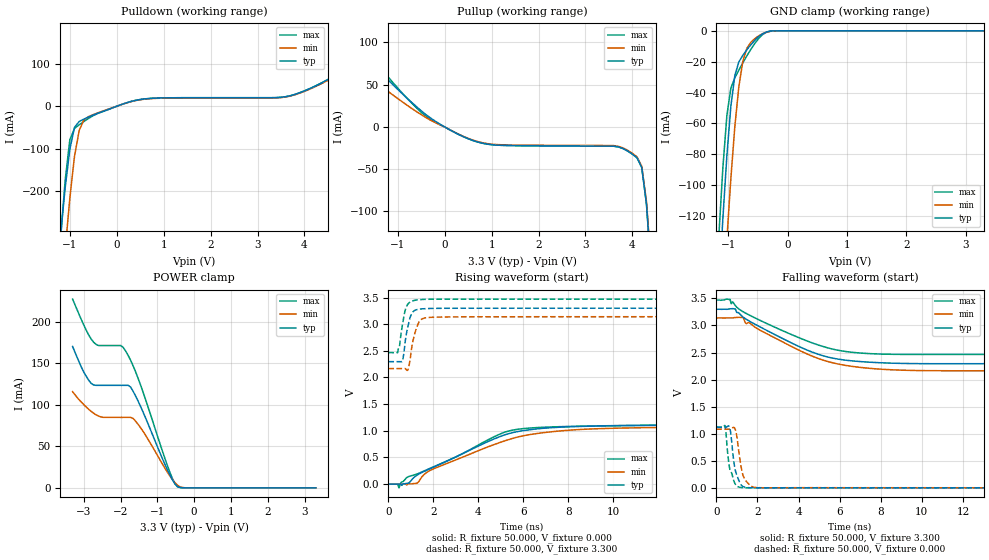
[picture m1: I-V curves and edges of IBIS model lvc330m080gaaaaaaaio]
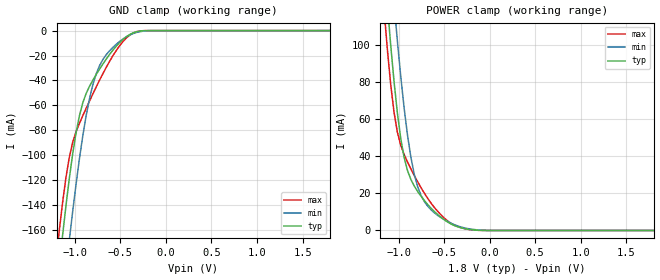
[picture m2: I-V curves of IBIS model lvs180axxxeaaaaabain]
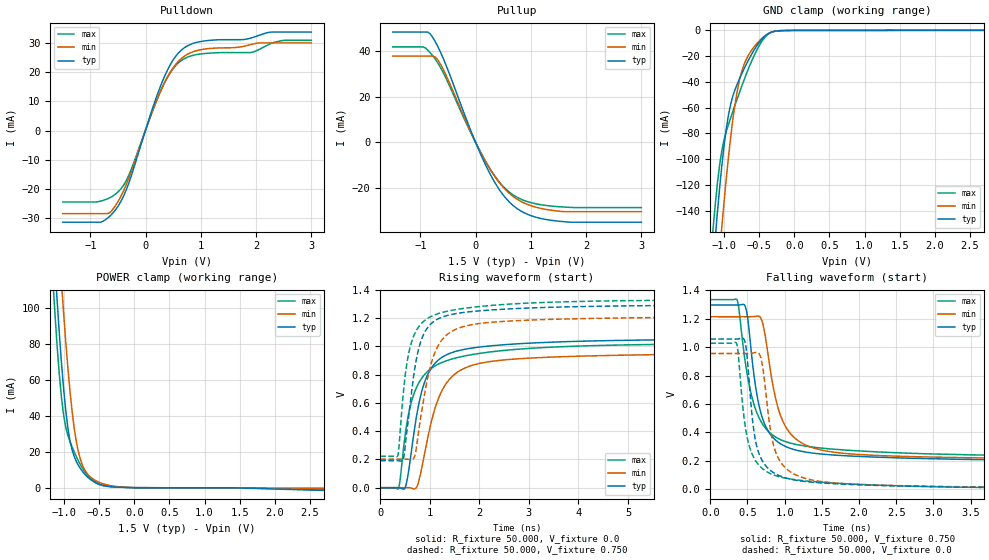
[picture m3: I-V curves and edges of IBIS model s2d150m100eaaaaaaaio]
| IBIS Models Generator: Lattice Radiant Software (64-bit) 2023.1.1.200.1
| Report Generate Date: Oct  8 2023
| Report Generate Time: 02:59:03
| IBIS File LibisMaker.ibs
| Cadence Design Systems, Inc. 2022
[IBIS ver]   4.2
[File Name]   Lattice_Project_1_impl_1.ibs
[File Rev]   1.8
[Date]   Wed Dec 14 00:00:05 PST 2022
[Source]   Lattice Semiconductor 28fdsoi Process
   Device: LIFCL-40   Final
   Lattice Semiconductor has worked hard to ensure the
   models below are accurate and complete.  However, the
   data below was generated using simulation of the
   input/output model files for the silicon.  Therefore,
   the data below is for reference and initial design
   purposes only.
   Lattice Semiconductor grants permission to use this
   data for use in printed circuit design using this
   Lattice programmable logic device.  Other use of this
   code, including the selling or duplication of any
   portion is strictly prohibited.
|   NAMING CONVENTION
   The IBIS [Model] header is limited by the specification to a
   total of characters.  With such a set of characters available
   for naming models it becomes important to attempt to
   meaningfully encode the IO standards so they fit within the
   twenty character limit.  It would seem that twenty characters
   would provide room enough for describing IO's.  However, the
   PLD IO structure continues to grow more and more complex.  The
   complexity is making the twenty characters insuffiently
   descriptive.  In order to overcome this issue the naming
   convention described below is implemented to resolve the issue.
The twenty character space is managed as follows:
   bbbvvvsdddprttmaoixx
   b = standard
   v = voltage (x.xx V)
   s = slew code
   d = drive (xx.x ma)
   p = pullmode code
   r = impedance
   t = termination code
   m = mipi hard dphy mode
   o = diff resistor code
   i = diff  current code
   x = reserved
   standard
   LVCMOS   lvc
   LVCMOSH   lvh
   LVCMOSR   lvr
   LVCMOSD   lvd
   LVTTL   lvt
   lvttld   ltd
   sstl_I   ss1
   sstl_II   ss2
   sstld_I   s1d
   sstld_II   s2d
   hsul   hs1
   hsuld   h1d
   hstl_I   hs1
   hstld_I   h1d
   lvds   lvs
   lvdse   lve
   SUBLVDS   slv
   sublvdse   sle
   sublvdseh   slh
   slvs   svs
   mipi   mip
   vref1   vr1
   slew
   na   a
   fast   f
   slow   s
   med   m
   drive
   2   020
   4   040
   6   060
   8   080
   10   100
   12   120
   16   160
   50rs   r50
   na   xxx
   pullmode/clamp on
   none   a/e
   failsafe   a/e
   up   b/f
   down   c/g
   keeper   d/h
   i3c   i
   impedance
   off   a
   termination
   off   aa
   40   bb
   50   cc
   60   dd
   75   ee
   150   ff
   mipi hard dphy mode
   off   a
   lp   l
   hs   h
   differential resistor
   off   a
   100   b
   differential current
   NA   a
   2.0   b
   3.5   c
   Reserved   IO type
   in   input only (mipi: rx)
   ou   output (mipi: tx)
   io   I/O
   od   Open drain
   on   Inverting differential I/O
   op   Non-Inverting differential I/O
   All the IO models are generated with pull mode set to none.
   Lattice Semiconductor Corporation
   5555 NE Moore Court
   Hillsboro, OR 97214
   U.S.A
   TEL: 1-800-Lattice (USA and Canada)
   408-826-6000 (other locations)
   web: http://www.latticesemi.com/
   email: techsupport@latticesemi.com
[Disclaimer] This IBIS source code is intended as a design reference
   which illustrates how the Lattice Semiconductor device operates.
   It is the user's responsibility to verify their design for
   consistency and functionality through the use of formal
   verification methods.  Lattice Semiconductor provides no warranty
   regarding the use or functionality of this data.
[Copyright]   Copyright 2022 by Lattice Semiconductor Corporation
|   Component LIFCL
[Component] LIFCL
[Manufacturer] Lattice Semiconductor Corp.
[Package]
|CABGA256
| variable   typ   min   max
R_pkg   0.3426   0.17381   0.48772
L_pkg   3.589e-9   1.79e-9   5.151e-9
C_pkg   1.23e-12   7.609e-13   1.567e-12
[Pin]  signal_name   model_name   R_pin   L_pin   C_pin
R5   dqs1_io+   s2d150m100eaaaaaaaio
P5   dqs1_io-   s2d150m100eaaaaaaaio
R7   dq_dqs1_io[6]   ss2150m100eaaaaaaaio
T5   dq_dqs1_io[2]   ss2150m100eaaaaaaaio
R1   dq_dqs1_io[3]   ss2150m100eaaaaaaaio
R3   dq_dqs1_io[4]   ss2150m100eaaaaaaaio
T3   dq_dqs1_io[1]   ss2150m100eaaaaaaaio
T6   dq_dqs1_io[0]   ss2150m100eaaaaaaaio
R2   dq_dqs1_io[5]   ss2150m100eaaaaaaaio
T2   dq_dqs1_io[7]   ss2150m100eaaaaaaaio
M9   dqs0_io+   s2d150m100eaaaaaaaio
M8   dqs0_io-   s2d150m100eaaaaaaaio
M10   dq_dqs0_io[6]   ss2150m100eaaaaaaaio
T10   dq_dqs0_io[2]   ss2150m100eaaaaaaaio
P7   dq_dqs0_io[3]   ss2150m100eaaaaaaaio
N9   dq_dqs0_io[4]   ss2150m100eaaaaaaaio
P6   dq_dqs0_io[1]   ss2150m100eaaaaaaaio
T9   dq_dqs0_io[0]   ss2150m100eaaaaaaaio
R9   dq_dqs0_io[5]   ss2150m100eaaaaaaaio
P9   dq_dqs0_io[7]   ss2150m100eaaaaaaaio
G13   I2C_DPHY_1_scl_io   lvc330m080gaaaaaaaio
G14   I2C_DPHY_1_sda_io   lvc330m080gaaaaaaaio
G16   I2C_DPHY_2_scl_io   lvc330m080gaaaaaaaio
F16   I2C_DPHY_2_sda_io   lvc330m080gaaaaaaaio
N4   PLL_1_clki_i+   lvs180axxxeaaaaabain
M4   PLL_1_clki_i-   lvs180axxxeaaaaabain
M11   DDR_MEM_1_cke_o[0]   ss2150m100eaaaaaaaou
N13   DDR_MEM_1_odt_o[0]   ss2150m100eaaaaaaaou
L12   DDR_MEM_1_wen_o   ss2150m100eaaaaaaaou
N11   DDR_MEM_1_rasn_o   ss2150m100eaaaaaaaou
N12   DDR_MEM_1_casn_o   ss2150m100eaaaaaaaou
R13   DDR_MEM_1_ba_o[2]   ss2150m100eaaaaaaaou
M14   DDR_MEM_1_ba_o[1]   ss2150m100eaaaaaaaou
T13   DDR_MEM_1_ba_o[0]   ss2150m100eaaaaaaaou
R16   DDR_MEM_1_addr_o[13] ss2150m100eaaaaaaaou
N14   DDR_MEM_1_addr_o[12] ss2150m100eaaaaaaaou
T15   DDR_MEM_1_addr_o[11] ss2150m100eaaaaaaaou
M13   DDR_MEM_1_addr_o[10] ss2150m100eaaaaaaaou
M16   DDR_MEM_1_addr_o[9]  ss2150m100eaaaaaaaou
P16   DDR_MEM_1_addr_o[8]  ss2150m100eaaaaaaaou
N16   DDR_MEM_1_addr_o[7]  ss2150m100eaaaaaaaou
R15   DDR_MEM_1_addr_o[6]  ss2150m100eaaaaaaaou
P15   DDR_MEM_1_addr_o[5]  ss2150m100eaaaaaaaou
T14   DDR_MEM_1_addr_o[4]  ss2150m100eaaaaaaaou
R14   DDR_MEM_1_addr_o[3]  ss2150m100eaaaaaaaou
N15   DDR_MEM_1_addr_o[2]  ss2150m100eaaaaaaaou
M15   DDR_MEM_1_addr_o[1]  ss2150m100eaaaaaaaou
P14   DDR_MEM_1_addr_o[0]  ss2150m100eaaaaaaaou
P11   DDR_MEM_1_csn_o[0]   ss2150m100eaaaaaaaou
T12   DDR_MEM_1_ck_o[0]+   s2d150m100eaaaaaaaou
T11   DDR_MEM_1_ck_o[0]-   s2d150m100eaaaaaaaou
T4   dm_dqs1_o   ss2150m100eaaaaaaaou
R8   dm_dqs0_o   ss2150m100eaaaaaaaou
[Diff pin]  inv_pin  vdiff  tdelay_typ  tdelay_min  tdelay_max
T12   T11   0.1   0.0s   0.0s   0.0s
| Models and submodels in the file (6): lvc330m080gaaaaaaaio (I/O), lvs180axxxeaaaaabain (Input), s2d150m100eaaaaaaaio (I/O), s2d150m100eaaaaaaaou (Output), ss2150m100eaaaaaaaio (I/O), ss2150m100eaaaaaaaou (Output)
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[Model] lvc330m080gaaaaaaaio
Model_type I/O
Polarity   Non-Inverting
Enable   Active-Low
Vinl =  0.800V
Vinh =  2.000V
Vmeas =  1.650V
Cref =  0.0F
Rref =  1.000M
Vref =  0.0V
C_comp   5.000pF   4.000pF   5.500pF
[Temperature Range]   25.000   0.125k   -40.000
[Voltage Range]   3.300V   3.140V   3.470V
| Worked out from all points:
|   slope of the pulldown table from 0 to 0.495 V, typ, clamps not added: 31.5 ohm
|   slope of the pullup table from 0 to 0.495 V, typ, clamps not added: 35.9 ohm
|   GND clamp passes 1 mA (typ) near -0.37 V on its own axis
|   POWER clamp passes 1 mA (typ) near -0.42 V on its own axis
|   rising waveform, R_fixture 50.000, V_fixture 0.000: 20-80 % time 3.47ns typ, 3.91ns min, 3.27ns max; typ from 0 V to 1.12 V
|   rising waveform, R_fixture 50.000, V_fixture 3.300: 20-80 % time 248ps typ, 295ps min, 236ps max; typ from 2.3 V to 3.3 V
|   falling waveform, R_fixture 50.000, V_fixture 3.300: 20-80 % time 3.22ns typ, 3.2ns min, 3.51ns max; typ from 3.3 V to 2.3 V
|   falling waveform, R_fixture 50.000, V_fixture 0.000: 20-80 % time 273ps typ, 284ps min, 288ps max; typ from 1.12 V to 0 V
[GND_clamp]
|Voltage   I(typ)   I(min)   I(max)
-3.3V     -1.887A    -1.873A    -1.902A
-1.156V   -166.9mA   -224mA     -132.1mA
-1.089V   -121.5mA   -178.4mA   -88.64mA
-1.022V   -81.05mA   -135.2mA   -54.94mA
-955mV    -48.98mA   -95.79mA   -37.15mA
-888mV    -28.98mA   -62.05mA   -30.42mA
-821mV    -20.23mA   -36.35mA   -25.49mA
-754mV    -15.89mA   -19.89mA   -20.81mA
-687mV    -12.34mA   -11.44mA   -16.31mA
-620mV    -9.094mA   -7.515mA   -12.09mA
-419mV    -1.869mA   -1.836mA   -2.383mA
3.3V      0A         0A         0A
[POWER_clamp]
|Voltage   I(typ)   I(min)   I(max)
-3.3V     170.3mA    115.9mA    227.4mA
-2.998V   139.6mA    100.3mA    196.3mA
-2.797V   125.9mA    92.2mA     179.4mA
-2.596V   123.5mA    86.45mA    171.5mA
-1.993V   123.5mA    84.93mA    171.5mA
-1.792V   123.5mA    84.93mA    159.6mA
-1.658V   116.4mA    83.68mA    147.1mA
-1.457V   98.28mA    72.65mA    124.1mA
-720mV    21.08mA    18.41mA    25.96mA
-452mV    1.573mA    3.148mA    1.229mA
-184mV    5.589uA    37.85uA    1.612uA
3.3V      0A         0A         0A
[Pulldown]
|Voltage   I(typ)   I(min)   I(max)
-3.3V     -3.025A    -3.614A    -3.918A
-1.2V     -304.3mA   -472.8mA   -317.2mA
-1.1V     -192.9mA   -339.3mA   -175.3mA
-1V       -101.2mA   -217mA     -78.95mA
-900mV    -49.86mA   -117.7mA   -52.21mA
-800mV    -35.81mA   -56.74mA   -43.74mA
-500mV    -20.71mA   -19.77mA   -22.12mA
600mV     17.27mA    16.75mA    17.27mA
3.7V      24.69mA    23.95mA    24.69mA
5.3V      109.4mA    106.1mA    109.4mA
6.1V      131.6mA    127.7mA    131.6mA
6.6V      184.5mA    179mA      184.5mA
[Pullup]
|Voltage   I(typ)   I(min)   I(max)
-3.3V     145.5mA    90.7mA     185.8mA
-3V       114.9mA    81.5mA     156.2mA
-2.7V     96.8mA     74.7mA     125.4mA
-2.4V     95.1mA     71.05mA    105.4mA
-1.9V     90.5mA     66.84mA    102.4mA
-500mV    19.13mA    14.57mA    17.21mA
600mV     -16.01mA   -15.53mA   -16.01mA
3.8V      -25.54mA   -24.77mA   -25.54mA
4.2V      -47.87mA   -46.43mA   -47.87mA
4.3V      -90.8mA    -88.1mA    -90.8mA
4.4V      -169.3mA   -164.2mA   -169.3mA
6.6V      -2.624A    -2.545A    -2.624A
[Ramp]
| variable   typ   min   max
dV/dt_r   0.789/3.474n   0.590/3.936n   0.521/3.276n
dV/dt_f   0.706/3.253n   0.547/3.212n   0.513/3.516n
R_load = 50.000
[Rising Waveform]
R_fixture = 50.000
V_fixture = 0.000
V_fixture_min = 0.000
V_fixture_max = 0.000
|  time   V(typ)   V(min)   V(max)
0s        488.9uV    1.45mV     490.1uV
395ps     637.6uV    958.7uV    3.902mV
475ps     718.1uV    1.458mV    -70.63mV
816ps     13.72mV    -15.69mV   120.4mV
1.256ns   162.7mV    14.22mV    187.3mV
2.016ns   319.3mV    288.2mV    325.9mV
4.885ns   878.7mV    769.5mV    924.9mV
5.78ns    987.4mV    886.1mV    1.03V
9.109ns   1.088V     1.036V     1.091V
20ns      1.119V     1.084V     1.122V
[Rising Waveform]
R_fixture = 50.000
V_fixture = 3.300
V_fixture_min = 3.140
V_fixture_max = 3.470
|  time   V(typ)   V(min)   V(max)
0s        2.297V     2.167V     2.467V
409ps     2.297V     2.166V     2.466V
616ps     2.299V     2.168V     2.961V
734ps     2.622V     2.168V     3.237V
866ps     2.953V     2.141V     3.375V
1.036ns   3.197V     2.555V     3.43V
1.276ns   3.274V     2.953V     3.455V
1.486ns   3.287V     3.096V     3.463V
2.077ns   3.297V     3.131V     3.469V
20ns      3.3V       3.14V      3.47V
[Falling Waveform]
R_fixture = 50.000
V_fixture = 3.300
V_fixture_min = 3.140
V_fixture_max = 3.470
|  time   V(typ)   V(min)   V(max)
0s        3.3V       3.14V      3.47V
666ps     3.307V     3.141V     3.481V
726ps     3.309V     3.14V      3.403V
924ps     3.306V     3.147V     3.369V
1.275ns   3.165V     3.146V     3.261V
1.436ns   3.12V      3.04V      3.227V
4.236ns   2.575V     2.505V     2.741V
6.39ns    2.354V     2.256V     2.514V
9.897ns   2.295V     2.167V     2.465V
20ns      2.297V     2.167V     2.467V
[Falling Waveform]
R_fixture = 50.000
V_fixture = 0.000
V_fixture_min = 0.000
V_fixture_max = 0.000
|  time   V(typ)   V(min)   V(max)
0s        1.119V     1.084V     1.122V
432ps     1.119V     1.083V     1.146V
635ps     1.128V     1.083V     395.6mV
704ps     1.006V     1.09V      298.1mV
846ps     510.1mV    1.117V     138.5mV
936ps     308.8mV    1.065V     61.56mV
1.193ns   62.15mV    421.9mV    5.672mV
1.432ns   8.25mV     133.1mV    218.6uV
1.966ns   398.9uV    4.688mV    -525.9uV
20ns      488.9uV    1.45mV     490.1uV
[Model] lvs180axxxeaaaaabain
Model_type Input
Polarity   Non-Inverting
Enable   Active-High
Vinl =  1.150V
Vinh =  1.350V
C_comp   5.000pF   4.000pF   5.500pF
[Temperature Range]   25.000   0.125k   -40.000
[Voltage Range]   1.800V   1.710V   1.890V
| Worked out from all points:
|   GND clamp passes 1 mA (typ) near -0.32 V on its own axis
|   POWER clamp passes 1 mA (typ) near -0.27 V on its own axis
[GND_clamp]
|Voltage   I(typ)   I(min)   I(max)
-1.8V     -677.4mA   -713mA     -658.2mA
-1.171V   -189.8mA   -242.9mA   -161.2mA
-1.134V   -164.7mA   -217.4mA   -138.3mA
-1.06V    -118.8mA   -168.4mA   -101.8mA
-1.023V   -99.03mA   -145.3mA   -89.73mA
-949mV    -68.36mA   -103mA     -74.49mA
-838mV    -44.68mA   -54.52mA   -56.51mA
-764mV    -35.18mA   -34.57mA   -45.15mA
-616mV    -18.97mA   -16.05mA   -24.45mA
-394mV    -3.022mA   -3.467mA   -3.479mA
-246mV    -133.7uA   -439.9uA   -72.52uA
1.8V      0A         0A         0A
[POWER_clamp]
|Voltage   I(typ)   I(min)   I(max)
-1.8V     630.6mA    657.5mA    617.1mA
-1.16V    145.6mA    191.8mA    119.8mA
-1.123V   121.9mA    167.8mA    97.77mA
-1.086V   99.96mA    144.6mA    78.71mA
-1.049V   80.13mA    122.5mA    63.55mA
-1.012V   63.07mA    101.7mA    52.79mA
-938mV    39.18mA    65.73mA    40.83mA
-864mV    27.4mA     39.31mA    33.08mA
-790mV    20.99mA    23.56mA    26.19mA
-679mV    13.9mA     13.03mA    17.21mA
-457mV    4.419mA    4.712mA    4.931mA
1.8V      0A         0A         0A
[Model] s2d150m100eaaaaaaaio
Model_type I/O
Polarity   Non-Inverting
Enable   Active-Low
Vinl =  0.650V
Vinh =  0.850V
Vmeas =  0.750V
Cref =  30.000pF
Rref =  50.000
Vref =  0.750V
C_comp   5.000pF   4.000pF   5.500pF
[Temperature Range]   25.000   0.125k   -40.000
[Voltage Range]   1.500V   1.430V   1.580V
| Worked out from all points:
|   slope of the pulldown table from 0 to 0.225 V, typ, clamps not added: 17.6 ohm
|   slope of the pullup table from 0 to 0.225 V, typ, clamps not added: 18.7 ohm
|   GND clamp passes 1 mA (typ) near -0.31 V on its own axis
|   POWER clamp passes 1 mA (typ) near -0.43 V on its own axis
|   rising waveform, R_fixture 50.000, V_fixture 0.0: 20-80 % time 419ps typ, 522ps min, 505ps max; typ from 0 V to 1.06 V
|   rising waveform, R_fixture 50.000, V_fixture 0.750: 20-80 % time 321ps typ, 403ps min, 317ps max; typ from 0.191 V to 1.3 V
|   falling waveform, R_fixture 50.000, V_fixture 0.750: 20-80 % time 245ps typ, 299ps min, 301ps max; typ from 1.3 V to 0.192 V
|   falling waveform, R_fixture 50.000, V_fixture 0.0: 20-80 % time 178ps typ, 217ps min, 206ps max; typ from 1.06 V to 0.001 V
[Pulldown]
|Voltage   I(typ)   I(min)   I(max)
-1.5V     -31.49mA   -28.52mA   -24.55mA
-810mV    -31.49mA   -28.52mA   -24.23mA
-672mV    -29.84mA   -28.5mA    -23.32mA
-534mV    -26.99mA   -25.49mA   -21.69mA
-304mV    -18.09mA   -16.39mA   -15.39mA
294mV     16.38mA    14.5mA     14.44mA
478mV     23.61mA    20.97mA    20.71mA
662mV     27.85mA    24.96mA    24.22mA
1.122V    30.89mA    28.09mA    26.52mA
1.904V    31.74mA    29.49mA    26.77mA
2.456V    33.8mA     30.08mA    30.83mA
3V        33.8mA     30.08mA    30.98mA
[Pullup]
|Voltage   I(typ)   I(min)   I(max)
-1.5V     48.28mA    37.75mA    41.78mA
-956mV    48.28mA    37.75mA    41.78mA
-864mV    48.28mA    37.75mA    40.27mA
-772mV    45.82mA    37.75mA    37.86mA
-588mV    36.9mA     32.06mA    30.64mA
-82mV     4.881mA    4.232mA    4.033mA
194mV     -10.55mA   -9.008mA   -8.855mA
470mV     -22.09mA   -18.82mA   -18.52mA
700mV     -28.07mA   -24.05mA   -23.33mA
1.022V    -32.27mA   -27.9mA    -26.54mA
1.436V    -34.35mA   -29.95mA   -28.06mA
3V        -34.97mA   -30.36mA   -28.57mA
[GND_clamp]
|Voltage   I(typ)   I(min)   I(max)
-1.5V     -437.6mA   -483.1mA   -411.3mA
-1.159V   -181.2mA   -234mA     -153.2mA
-1.128V   -160.4mA   -212.8mA   -134.5mA
-1.097V   -140.5mA   -192mA     -117.9mA
-1.035V   -104.9mA   -152.2mA   -93.08mA
-942mV    -66.01mA   -98.88mA   -73.31mA
-849mV    -46.26mA   -57.94mA   -58.29mA
-787mV    -38.01mA   -39.4mA    -48.69mA
-663mV    -23.84mA   -19.92mA   -30.76mA
-508mV    -9.791mA   -8.549mA   -12.41mA
-384mV    -2.92mA    -2.99mA    -3.392mA
3V        0A         0A         0A
[POWER_clamp]
|Voltage   I(typ)   I(min)   I(max)
-1.5V     391.5mA    430.3mA    369.8mA
-1.166V   144.9mA    193mA      117.4mA
-1.135V   124.5mA    172.6mA    97.69mA
-1.104V   105.1mA    152.8mA    79.63mA
-1.042V   70.22mA    115.2mA    50.64mA
-1.011V   55.5mA     97.74mA    40.7mA
-949mV    33.19mA    66.57mA    29.05mA
-887mV    20.7mA     41.83mA    22.48mA
-825mV    14.31mA    24.76mA    16.96mA
-732mV    8.589mA    11.69mA    10.31mA
-577mV    3.202mA    4.456mA    3.639mA
3V        -1.88mA    -305.7uA   -1.33mA
[Ramp]
| variable   typ   min   max
dV/dt_r   0.634/0.421n   0.573/0.525n   0.617/0.507n
dV/dt_f   0.647/0.393n   0.591/0.466n   0.642/0.571n
R_load = 50.000
[Rising Waveform]
R_fixture= 50.000
V_fixture= 0.0
V_fixture_min= 0.0
V_fixture_max= 0.0
|time   V(typ)   V(min)   V(max)
0s        11.5uV     367.1uV    1.902uV
364ps     802.7uV    412.3uV    -6.152mV
498ps     -2.509mV   611.5uV    362.4mV
598ps     180.4mV    -171.6uV   565.3mV
730ps     502mV      1.823mV    708.5mV
869ps     719.8mV    194.7mV    790.3mV
1.099ns   878.2mV    554.7mV    860.7mV
1.32ns    937.6mV    732.1mV    896.5mV
2.171ns   1.002V     890.3mV    958.5mV
30ns      1.057V     955mV      1.028V
[Rising Waveform]
R_fixture= 50.000
V_fixture= 0.750
V_fixture_min= 0.713
V_fixture_max= 0.789
|time   V(typ)   V(min)   V(max)
0s        191.3mV    201.8mV    222.7mV
351ps     191.5mV    201.8mV    224.5mV
469ps     208.2mV    201.9mV    683.2mV
578ps     517.3mV    200.5mV    957.6mV
680ps     804.5mV    210.9mV    1.077V
740ps     929mV      309.1mV    1.119V
949ps     1.13V      763.7mV    1.197V
1.129ns   1.187V     978.3mV    1.227V
1.841ns   1.246V     1.153V     1.276V
30ns      1.297V     1.214V     1.335V
[Falling Waveform]
R_fixture= 50.000
V_fixture= 0.750
V_fixture_min= 0.713
V_fixture_max= 0.789
|time   V(typ)   V(min)   V(max)
0s        1.297V     1.215V     1.335V
361ps     1.297V     1.215V     1.332V
471ps     1.287V     1.215V     894.2mV
619ps     691.4mV    1.218V     548.8mV
689ps     521.6mV    1.195V     470.6mV
748ps     439.3mV    1.051V     426.4mV
878ps     346.1mV    641.1mV    367.6mV
1.028ns   297.4mV    427.7mV    332.7mV
1.678ns   240mV      259.5mV    281mV
30ns      191.9mV    202.6mV    223.2mV
[Falling Waveform]
R_fixture= 50.000
V_fixture= 0.0
V_fixture_min= 0.0
V_fixture_max= 0.0
|time   V(typ)   V(min)   V(max)
0s        1.058V     956mV      1.028V
351ps     1.057V     955.8mV    1.029V
461ps     1.049V     955.8mV    477mV
571ps     473.7mV    958.7mV    237.9mV
641ps     272.8mV    961.8mV    177.6mV
698ps     201.9mV    881.4mV    146.8mV
828ps     124.5mV    362.8mV    105.8mV
918ps     97.72mV    216.4mV    89.53mV
1.528ns   43.02mV    51.67mV    47.85mV
30ns      532.3uV    1.083mV    356.1uV
